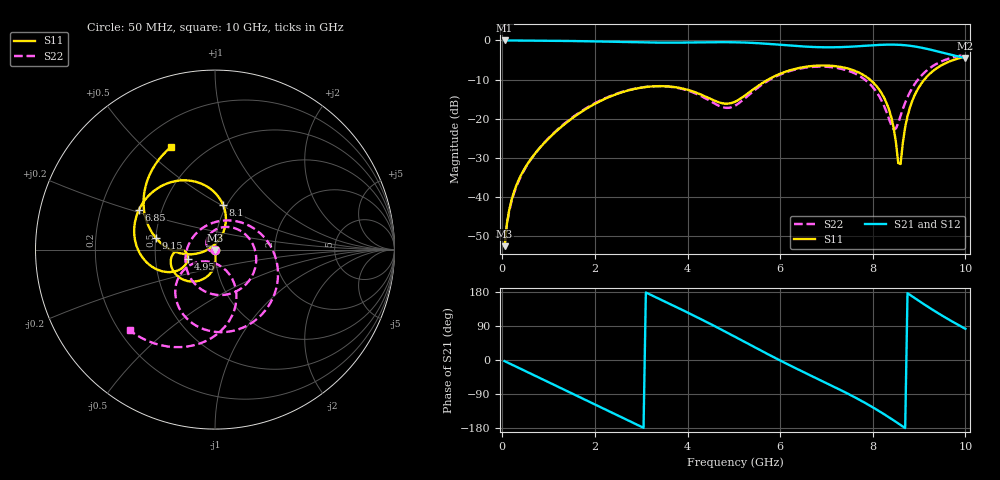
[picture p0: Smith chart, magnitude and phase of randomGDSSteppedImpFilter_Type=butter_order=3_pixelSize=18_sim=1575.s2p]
! freq	dB(S11)	phase(S11)	dB(S12)	phase(S12)
!  dB(S21)	phase(S21)	dB(S22)	phase(S22)
!S-par simulation data
#  GHz  S  DB  R 50
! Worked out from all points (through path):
!   200 points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, 50 MHz to 10 GHz, reference 50 ohm
!   highest |S21| = 0.00 dB at 50 MHz (marker M1); lowest = -4.5 dB at 10 GHz (marker M2)
!   group delay of S21, straight-line fit = 174 ps
!   lowest |S11| = -52.5 dB at 50 MHz (marker M3), VSWR 1.00, Z = 50.1 - j0.231 ohm
!   |S11| at or under -10 dB: start of sweep to 5.739 GHz; 7.94 GHz to 9.113 GHz (1.173 GHz wide, 13.8 % of centre)
!   |S22| runs from -52.4 to -3.7 dB; largest |S21 - S12| = 0
!   S11 on the Smith chart (normalised r, x): 50 MHz: 1.00, -0.00; 4.95 GHz: 0.73, -0.07; 6.85 GHz: 0.37, +0.21; 8.1 GHz: 0.96, +0.51; 9.15 GHz: 0.50, +0.07; 10 GHz: 0.33, +0.61
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0.05  -52.48 -76.5  -0.00 -3.0  -0.00 -3.0  -52.38 -86.7
0.2  -40.71 -85.1  -0.02 -11.8  -0.02 -11.8  -41.05 -113.2
0.45  -33.35 -85.6  -0.04 -26.4  -0.04 -26.4  -33.55 -147.4
1.15  -23.33 -88.4  -0.10 -67.4  -0.10 -67.4  -23.19 131.4
1.75  -17.90 -99.4  -0.19 -102.8  -0.19 -102.8  -17.72 72.6
2.6  -13.16 -125.7  -0.40 -152.7  -0.40 -152.7  -13.07 -0.0
3.4  -11.66 -154.9  -0.56 160.7  -0.56 160.7  -11.66 -62.9
4.25  -13.61 -178.9  -0.50 110.2  -0.50 110.2  -13.94 -137.7
4.95  -15.96 -161.8  -0.46 66.1  -0.46 66.1  -17.03 113.2
5.05  -15.49 -157.1  -0.48 59.7  -0.48 59.7  -16.47 94.2
5.8  -9.61 -159.5  -0.92 11.2  -0.92 11.2  -9.86 -0.5
6.7  -6.51 160.2  -1.66 -43.3  -1.66 -43.3  -6.75 -67.1
6.85  -6.40 152.6  -1.72 -52.1  -1.72 -52.1  -6.68 -76.5
7.55  -7.48 114.0  -1.58 -94.4  -1.58 -94.4  -8.10 -118.5
8.1  -11.93 79.7  -1.17 -132.1  -1.17 -132.1  -13.50 -146.5
8.35  -17.60 65.7  -1.06 -151.3  -1.06 -151.3  -20.03 -138.7
8.45  -22.23 64.8  -1.07 -159.2  -1.07 -159.2  -22.70 -111.1
8.55  -31.27 95.9  -1.10 -167.3  -1.10 -167.3  -21.07 -76.2
8.6  -31.51 158.6  -1.13 -171.4  -1.13 -171.4  -19.25 -66.7
8.8  -17.20 -168.9  -1.36 172.1  -1.36 172.1  -13.25 -60.4
9.15  -9.49 168.9  -2.09 143.6  -2.09 143.6  -7.83 -78.9
10  -4.14 113.4  -4.49 82.2  -4.49 82.2  -3.68 -136.6
